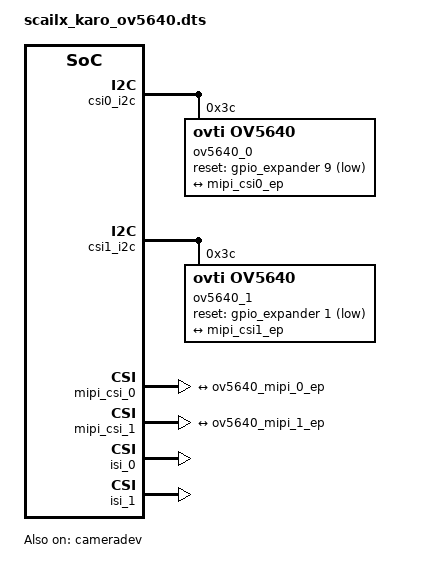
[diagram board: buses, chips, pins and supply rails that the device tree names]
// SPDX-License-Identifier: (GPL-2.0 OR MIT)
/*
 * Copyright (C) 2021 Markus Bauer <mb@karo-electronics.de>
 *
 */

/dts-v1/;

#include "scailx_karo.dts"

&csi0_i2c {
	ov5640_0: ov5640_mipi@3c {
		compatible = "ovti,ov5640";
		reg = <0x3c>;
		csi_id = <0>;
		reset-gpios = <&gpio_expander 9 GPIO_ACTIVE_LOW>;
		clocks = <&clk IMX8MP_CLK_IPP_DO_CLKO2>;
		clock-names = "xclk";
		assigned-clocks = <&clk IMX8MP_CLK_IPP_DO_CLKO2>;
		assigned-clock-parents = <&clk IMX8MP_CLK_24M>;
		assigned-clock-rates = <24000000>;
		mclk = <24000000>;
		mclk_source = <0>;
		mipi_csi;
		status = "okay";

		port {
			ov5640_mipi_0_ep: endpoint {
				remote-endpoint = <&mipi_csi0_ep>;
				data-lanes = <1 2>;
				clock-lanes = <0>;
			};
		};
	};
};

&csi1_i2c {
	ov5640_1: ov5640_mipi@3c {
		compatible = "ovti,ov5640";
		reg = <0x3c>;
		csi_id = <1>;
		reset-gpios = <&gpio_expander 1 GPIO_ACTIVE_LOW>;
		clocks = <&clk IMX8MP_CLK_IPP_DO_CLKO2>;
		clock-names = "xclk";
		assigned-clocks = <&clk IMX8MP_CLK_IPP_DO_CLKO2>;
		assigned-clock-parents = <&clk IMX8MP_CLK_24M>;
		assigned-clock-rates = <24000000>;
		mclk = <24000000>;
		mclk_source = <0>;
		mipi_csi;
		status = "okay";
		
		port {
			ov5640_mipi_1_ep: endpoint {
				remote-endpoint = <&mipi_csi1_ep>;
				data-lanes = <1 2>;
				clock-lanes = <0>;
			};
		};
	};
};

&mipi_csi_0 {
	#address-cells = <1>;
	#size-cells = <0>;
	clock-frequency = <594000000>; 
	status = "okay";

	port@0 {
		reg = <0>;
		mipi_csi0_ep: endpoint {
			remote-endpoint = <&ov5640_mipi_0_ep>;
			data-lanes = <2>;
			csis-hs-settle = <13>;
			csis-clk-settle = <2>;
			csis-wclk;
		};
	};
};

&mipi_csi_1 {
	#address-cells = <1>;
	#size-cells = <0>;
	clock-frequency = <594000000>; 
	status = "okay";

	port@1 {
		reg = <1>;
		mipi_csi1_ep: endpoint {
			remote-endpoint = <&ov5640_mipi_1_ep>;
			data-lanes = <2>;
			csis-hs-settle = <13>;
			csis-clk-settle = <2>;
			csis-wclk;
		};
	};
};

&cameradev {
	status = "okay";
};

&isi_0 {
	status = "okay";

	cap_device {
		status = "okay";
	};

	m2m_device {
		status = "disabled";
	};
};

&isi_1 {
	status = "okay";

	cap_device {
		status = "okay";
	};
};

&iomuxc {
	// pinctrl_csi0_rst: csi0_rst_grp {
	// 	fsl,pins = <
	// 		MX8MP_IOMUXC_SAI2_TXFS__GPIO4_IO24		0x19
	// 	>;
	// };
};
